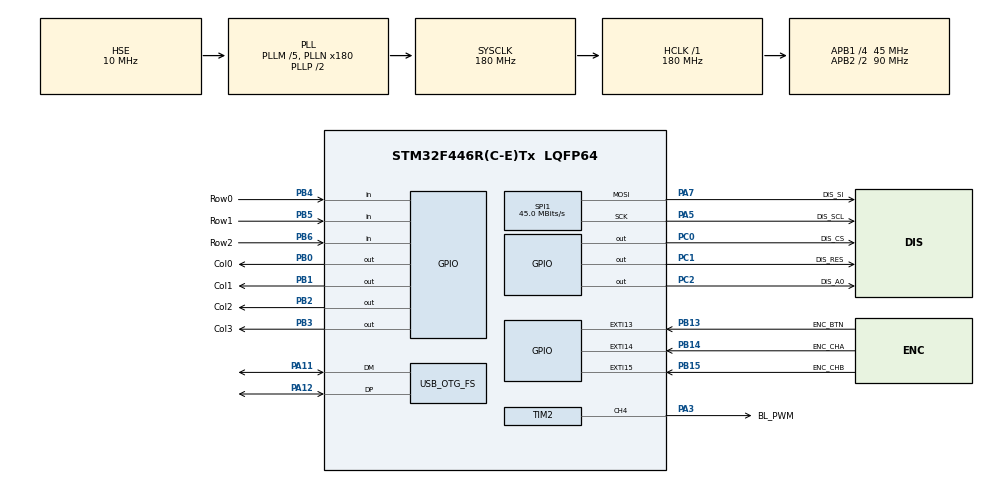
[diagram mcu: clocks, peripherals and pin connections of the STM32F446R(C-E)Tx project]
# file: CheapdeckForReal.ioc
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Dma.MEMTOMEM.2.Direction=DMA_MEMORY_TO_MEMORY
Dma.MEMTOMEM.2.FIFOMode=DMA_FIFOMODE_ENABLE
Dma.MEMTOMEM.2.FIFOThreshold=DMA_FIFO_THRESHOLD_FULL
Dma.MEMTOMEM.2.Instance=DMA2_Stream0
Dma.MEMTOMEM.2.MemBurst=DMA_MBURST_INC4
Dma.MEMTOMEM.2.MemDataAlignment=DMA_MDATAALIGN_WORD
Dma.MEMTOMEM.2.MemInc=DMA_MINC_ENABLE
Dma.MEMTOMEM.2.Mode=DMA_NORMAL
Dma.MEMTOMEM.2.PeriphBurst=DMA_PBURST_INC4
Dma.MEMTOMEM.2.PeriphDataAlignment=DMA_PDATAALIGN_WORD
Dma.MEMTOMEM.2.PeriphInc=DMA_PINC_ENABLE
Dma.MEMTOMEM.2.Priority=DMA_PRIORITY_LOW
Dma.Request0=TIM2_UP/CH4
Dma.Request1=SPI1_TX
Dma.Request2=MEMTOMEM
Dma.SPI1_TX.1.Direction=DMA_MEMORY_TO_PERIPH
Dma.SPI1_TX.1.FIFOMode=DMA_FIFOMODE_DISABLE
Dma.SPI1_TX.1.Instance=DMA2_Stream3
Dma.SPI1_TX.1.MemDataAlignment=DMA_MDATAALIGN_BYTE
Dma.SPI1_TX.1.MemInc=DMA_MINC_ENABLE
Dma.SPI1_TX.1.Mode=DMA_NORMAL
Dma.SPI1_TX.1.PeriphDataAlignment=DMA_PDATAALIGN_BYTE
Dma.SPI1_TX.1.PeriphInc=DMA_PINC_DISABLE
Dma.SPI1_TX.1.Priority=DMA_PRIORITY_LOW
Dma.TIM2_UP/CH4.0.Direction=DMA_MEMORY_TO_PERIPH
Dma.TIM2_UP/CH4.0.FIFOMode=DMA_FIFOMODE_DISABLE
Dma.TIM2_UP/CH4.0.Instance=DMA1_Stream7
Dma.TIM2_UP/CH4.0.MemDataAlignment=DMA_MDATAALIGN_HALFWORD
Dma.TIM2_UP/CH4.0.MemInc=DMA_MINC_ENABLE
Dma.TIM2_UP/CH4.0.Mode=DMA_CIRCULAR
Dma.TIM2_UP/CH4.0.PeriphDataAlignment=DMA_PDATAALIGN_HALFWORD
Dma.TIM2_UP/CH4.0.PeriphInc=DMA_PINC_DISABLE
Dma.TIM2_UP/CH4.0.Priority=DMA_PRIORITY_LOW
Mcu.Family=STM32F4
Mcu.Name=STM32F446R(C-E)Tx
Mcu.Package=LQFP64
NVIC.DMA1_Stream7_IRQn=true\:0\:0\:false\:false\:true\:false\:true\:true
NVIC.DMA2_Stream0_IRQn=true\:0\:0\:false\:false\:true\:true\:true\:true
NVIC.DMA2_Stream3_IRQn=true\:0\:0\:false\:false\:true\:false\:true\:true
NVIC.EXTI15_10_IRQn=true\:0\:0\:false\:false\:true\:true\:true\:true
NVIC.OTG_FS_IRQn=true\:0\:0\:false\:false\:true\:false\:true\:true
NVIC.PriorityGroup=NVIC_PRIORITYGROUP_4
PA11.Mode=Device_Only
PA11.Signal=USB_OTG_FS_DM
PA12.Mode=Device_Only
PA12.Signal=USB_OTG_FS_DP
PA13.Mode=Serial_Wire
PA13.Signal=SYS_JTMS-SWDIO
PA14.Mode=Serial_Wire
PA14.Signal=SYS_JTCK-SWCLK
PA3.GPIO_Label=BL_PWM
PA3.Signal=S_TIM2_CH4
PA5.GPIO_Label=DIS_SCL
PA5.Mode=TX_Only_Simplex_Unidirect_Master
PA5.Signal=SPI1_SCK
PA7.GPIO_Label=DIS_SI
PA7.Mode=TX_Only_Simplex_Unidirect_Master
PA7.Signal=SPI1_MOSI
PB0.GPIO_Label=Col0
PB0.Signal=GPIO_Output
PB1.GPIO_Label=Col1
PB1.Signal=GPIO_Output
PB13.GPIO_Label=ENC_BTN
PB13.GPIO_ModeDefaultEXTI=GPIO_MODE_IT_RISING_FALLING
PB13.Signal=GPXTI13
PB14.GPIO_Label=ENC_CHA
PB14.GPIO_ModeDefaultEXTI=GPIO_MODE_IT_RISING_FALLING
PB14.Signal=GPXTI14
PB15.GPIO_Label=ENC_CHB
PB15.GPIO_ModeDefaultEXTI=GPIO_MODE_IT_RISING_FALLING
PB15.Signal=GPXTI15
PB2.GPIO_Label=Col2
PB2.Signal=GPIO_Output
PB3.GPIO_Label=Col3
PB3.Signal=GPIO_Output
PB4.GPIO_Label=Row0
PB4.GPIO_PuPd=GPIO_PULLUP
PB4.Signal=GPIO_Input
PB5.GPIO_Label=Row1
PB5.GPIO_PuPd=GPIO_PULLUP
PB5.Signal=GPIO_Input
PB6.GPIO_Label=Row2
PB6.GPIO_PuPd=GPIO_PULLUP
PB6.Signal=GPIO_Input
PC0.GPIO_Label=DIS_CS
PC0.Signal=GPIO_Output
PC1.GPIO_Label=DIS_RES
PC1.Signal=GPIO_Output
PC2.GPIO_Label=DIS_A0
PC2.Signal=GPIO_Output
PH0-OSC_IN.Mode=HSE-External-Oscillator
PH0-OSC_IN.Signal=RCC_OSC_IN
PH1-OSC_OUT.Mode=HSE-External-Oscillator
PH1-OSC_OUT.Signal=RCC_OSC_OUT
ProjectManager.HeapSize=0x200
ProjectManager.StackSize=0x400
ProjectManager.TargetToolchain=STM32CubeIDE
RCC.AHBFreq_Value=180000000
RCC.APB1CLKDivider=RCC_HCLK_DIV4
RCC.APB1Freq_Value=45000000
RCC.APB1TimFreq_Value=90000000
RCC.APB2CLKDivider=RCC_HCLK_DIV2
RCC.APB2Freq_Value=90000000
RCC.APB2TimFreq_Value=180000000
RCC.CortexFreq_Value=180000000
RCC.HCLKFreq_Value=180000000
RCC.HSE_VALUE=10000000
RCC.PLLM=5
RCC.PLLN=180
RCC.PLLQ=3
RCC.PLLSAIM=10
RCC.PLLSAIN=384
RCC.PLLSAIP=RCC_PLLSAIP_DIV8
RCC.PLLSourceVirtual=RCC_PLLSOURCE_HSE
RCC.SYSCLKFreq_VALUE=180000000
RCC.SYSCLKSource=RCC_SYSCLKSOURCE_PLLCLK
RCC.USBCLockSelection=RCC_CLK48CLKSOURCE_PLLSAIP
RCC.USBFreq_Value=48000000
RCC.VCOOutputFreq_Value=360000000
SH.S_TIM2_CH4.0=TIM2_CH4,PWM Generation4 CH4
SPI1.CalculateBaudRate=45.0 MBits/s
SPI1.Direction=SPI_DIRECTION_2LINES
SPI1.Mode=SPI_MODE_MASTER
SPI1.VirtualType=VM_MASTER
TIM2.AutoReloadPreload=TIM_AUTORELOAD_PRELOAD_ENABLE
TIM2.Channel-PWM\ Generation4\ CH4=TIM_CHANNEL_4
TIM2.CounterMode=TIM_COUNTERMODE_UP
TIM2.Period=99
TIM2.Prescaler=71
TIM2.Pulse-PWM\ Generation4\ CH4=0
USB_DEVICE.CLASS_NAME_FS=CUSTOM_HID
USB_DEVICE.CUSTOM_HID_FS_BINTERVAL=0x1
USB_DEVICE.PID_CUSTOMHID_FS=22353 
USB_DEVICE.USBD_CUSTOMHID_OUTREPORT_BUF_SIZE-CUSTOM_HID_FS=64
USB_DEVICE.USBD_CUSTOM_HID_REPORT_DESC_SIZE-CUSTOM_HID_FS=120
USB_DEVICE.VirtualMode-CUSTOM_HID_FS=CustomHid
USB_DEVICE.VirtualModeFS=Custom_Hid_FS
USB_OTG_FS.VirtualMode=Device_Only
VP_TIM2_VS_ClockSourceINT.Mode=Internal
VP_USB_DEVICE_VS_USB_DEVICE_CUSTOM_HID_FS.Mode=CUSTOM_HID_FS
board=custom

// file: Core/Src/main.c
/* USER CODE BEGIN Header */
/**
  ******************************************************************************
  * @file           : main.c
  * @brief          : Main program body
  ******************************************************************************
  * @attention
  *
  * Copyright (c) 2026 STMicroelectronics.
  * All rights reserved.
  *
  * This software is licensed under terms that can be found in the LICENSE file
  * in the root directory of this software component.
  * If no LICENSE file comes with this software, it is provided AS-IS.
  *
  ******************************************************************************
  */
/* USER CODE END Header */
#include "main.h"
#include "usb_device.h"

/* USER CODE BEGIN Includes */
#include "Display.h"
#include "Buttons.h"
#include "Flash.h"
#include "USB.h"
#include <stdbool.h>
#include "Encoder.h"
#include "Graphics.h"

#include "usbd_customhid.h"
#include "usb_device.h"
/* USER CODE END Includes */

SPI_HandleTypeDef hspi1;
DMA_HandleTypeDef hdma_spi1_tx;

TIM_HandleTypeDef htim2;
DMA_HandleTypeDef hdma_tim2_up_ch4;

DMA_HandleTypeDef hdma_memtomem_dma2_stream0;
/* USER CODE BEGIN PV */

extern USBD_HandleTypeDef hUsbDeviceFS;

__attribute__((aligned(4))) uint8_t Frame[8][128] = {0};

volatile bool drawingallowed = true;
volatile bool RefreshScreen = true;
volatile bool UpdateButtons = true;
volatile bool ReadEncoder = true;
volatile bool USBPacketReceived = false;
volatile bool KeysChanged = false;
__attribute__((aligned(4))) KeyAssignment ButtonAssignments[12] = {0};
uint16_t changes = 0;
bool mute_flag = false;

/* USER CODE END PV */

void SystemClock_Config(void);
static void MX_GPIO_Init(void);
static void MX_DMA_Init(void);
static void MX_SPI1_Init(void);
static void MX_TIM2_Init(void);

int main(void)
{

  /* MCU Configuration--------------------------------------------------------*/

  /* Reset of all peripherals, Initializes the Flash interface and the Systick. */
  HAL_Init();

  /* Configure the system clock */
  SystemClock_Config();

  /* USER CODE BEGIN SysInit */
  HAL_Delay(1000);
  ScanFlashSector();
  LoadAssignments();
  /* USER CODE END SysInit */

  /* Initialize all configured peripherals */
  MX_GPIO_Init();
  MX_DMA_Init();
  MX_SPI1_Init();
  MX_TIM2_Init();
  MX_USB_DEVICE_Init();
  /* USER CODE BEGIN 2 */
  InitDisplay();
  HAL_TIM_PWM_Start(&htim2, TIM_CHANNEL_4);

  uint32_t last_display_time = 0;

  /* USER CODE END 2 */

  /* Infinite loop */
  /* USER CODE BEGIN WHILE */
  while (1)
  {
	USBD_CUSTOM_HID_HandleTypeDef *hhid = (USBD_CUSTOM_HID_HandleTypeDef*)hUsbDeviceFS.pClassData;
	ProcessIncomingUSBData();
	UpdateEncoderAccumulator();
	ScanButtons();
	SendKeyboardReport(hhid);
	SendMediaControlReport(hhid);
	if ((HAL_GetTick() - last_display_time) >= 35) {
	    last_display_time = HAL_GetTick();
	    PaintDisplayDMA();
	}
	__WFI();
    /* USER CODE END WHILE */

  }
}

void SystemClock_Config(void)
{
  RCC_OscInitTypeDef RCC_OscInitStruct = {0};
  RCC_ClkInitTypeDef RCC_ClkInitStruct = {0};

  /** Configure the main internal regulator output voltage
  */
  __HAL_RCC_PWR_CLK_ENABLE();
  __HAL_PWR_VOLTAGESCALING_CONFIG(PWR_REGULATOR_VOLTAGE_SCALE1);

  /** Initializes the RCC Oscillators according to the specified parameters
  * in the RCC_OscInitTypeDef structure.
  */
  RCC_OscInitStruct.OscillatorType = RCC_OSCILLATORTYPE_HSE;
  RCC_OscInitStruct.HSEState = RCC_HSE_ON;
  RCC_OscInitStruct.PLL.PLLState = RCC_PLL_ON;
  RCC_OscInitStruct.PLL.PLLSource = RCC_PLLSOURCE_HSE;
  RCC_OscInitStruct.PLL.PLLM = 5;
  RCC_OscInitStruct.PLL.PLLN = 180;
  RCC_OscInitStruct.PLL.PLLP = RCC_PLLP_DIV2;
  RCC_OscInitStruct.PLL.PLLQ = 3;
  RCC_OscInitStruct.PLL.PLLR = 2;
  if (HAL_RCC_OscConfig(&RCC_OscInitStruct) != HAL_OK)
  {
    Error_Handler();
  }

  /** Activate the Over-Drive mode
  */
  if (HAL_PWREx_EnableOverDrive() != HAL_OK)
  {
    Error_Handler();
  }

  /** Initializes the CPU, AHB and APB buses clocks
  */
  RCC_ClkInitStruct.ClockType = RCC_CLOCKTYPE_HCLK|RCC_CLOCKTYPE_SYSCLK
                              |RCC_CLOCKTYPE_PCLK1|RCC_CLOCKTYPE_PCLK2;
  RCC_ClkInitStruct.SYSCLKSource = RCC_SYSCLKSOURCE_PLLCLK;
  RCC_ClkInitStruct.AHBCLKDivider = RCC_SYSCLK_DIV1;
  RCC_ClkInitStruct.APB1CLKDivider = RCC_HCLK_DIV4;
  RCC_ClkInitStruct.APB2CLKDivider = RCC_HCLK_DIV2;

  if (HAL_RCC_ClockConfig(&RCC_ClkInitStruct, FLASH_LATENCY_5) != HAL_OK)
  {
    Error_Handler();
  }
}

static void MX_SPI1_Init(void)
{

  /* SPI1 parameter configuration*/
  hspi1.Instance = SPI1;
  hspi1.Init.Mode = SPI_MODE_MASTER;
  hspi1.Init.Direction = SPI_DIRECTION_2LINES;
  hspi1.Init.DataSize = SPI_DATASIZE_8BIT;
  hspi1.Init.CLKPolarity = SPI_POLARITY_LOW;
  hspi1.Init.CLKPhase = SPI_PHASE_1EDGE;
  hspi1.Init.NSS = SPI_NSS_SOFT;
  hspi1.Init.BaudRatePrescaler = SPI_BAUDRATEPRESCALER_2;
  hspi1.Init.FirstBit = SPI_FIRSTBIT_MSB;
  hspi1.Init.TIMode = SPI_TIMODE_DISABLE;
  hspi1.Init.CRCCalculation = SPI_CRCCALCULATION_DISABLE;
  hspi1.Init.CRCPolynomial = 10;
  if (HAL_SPI_Init(&hspi1) != HAL_OK)
  {
    Error_Handler();
  }

}

static void MX_TIM2_Init(void)
{

  TIM_ClockConfigTypeDef sClockSourceConfig = {0};
  TIM_MasterConfigTypeDef sMasterConfig = {0};
  TIM_OC_InitTypeDef sConfigOC = {0};

  htim2.Instance = TIM2;
  htim2.Init.Prescaler = 71;
  htim2.Init.CounterMode = TIM_COUNTERMODE_UP;
  htim2.Init.Period = 99;
  htim2.Init.ClockDivision = TIM_CLOCKDIVISION_DIV1;
  htim2.Init.AutoReloadPreload = TIM_AUTORELOAD_PRELOAD_ENABLE;
  if (HAL_TIM_Base_Init(&htim2) != HAL_OK)
  {
    Error_Handler();
  }
  sClockSourceConfig.ClockSource = TIM_CLOCKSOURCE_INTERNAL;
  if (HAL_TIM_ConfigClockSource(&htim2, &sClockSourceConfig) != HAL_OK)
  {
    Error_Handler();
  }
  if (HAL_TIM_PWM_Init(&htim2) != HAL_OK)
  {
    Error_Handler();
  }
  sMasterConfig.MasterOutputTrigger = TIM_TRGO_RESET;
  sMasterConfig.MasterSlaveMode = TIM_MASTERSLAVEMODE_DISABLE;
  if (HAL_TIMEx_MasterConfigSynchronization(&htim2, &sMasterConfig) != HAL_OK)
  {
    Error_Handler();
  }
  sConfigOC.OCMode = TIM_OCMODE_PWM1;
  sConfigOC.Pulse = 0;
  sConfigOC.OCPolarity = TIM_OCPOLARITY_HIGH;
  sConfigOC.OCFastMode = TIM_OCFAST_DISABLE;
  if (HAL_TIM_PWM_ConfigChannel(&htim2, &sConfigOC, TIM_CHANNEL_4) != HAL_OK)
  {
    Error_Handler();
  }
  HAL_TIM_MspPostInit(&htim2);

}

static void MX_DMA_Init(void)
{

  /* DMA controller clock enable */
  __HAL_RCC_DMA1_CLK_ENABLE();
  __HAL_RCC_DMA2_CLK_ENABLE();

  /* Configure DMA request hdma_memtomem_dma2_stream0 on DMA2_Stream0 */
  hdma_memtomem_dma2_stream0.Instance = DMA2_Stream0;
  hdma_memtomem_dma2_stream0.Init.Channel = DMA_CHANNEL_0;
  hdma_memtomem_dma2_stream0.Init.Direction = DMA_MEMORY_TO_MEMORY;
  hdma_memtomem_dma2_stream0.Init.PeriphInc = DMA_PINC_ENABLE;
  hdma_memtomem_dma2_stream0.Init.MemInc = DMA_MINC_ENABLE;
  hdma_memtomem_dma2_stream0.Init.PeriphDataAlignment = DMA_PDATAALIGN_WORD;
  hdma_memtomem_dma2_stream0.Init.MemDataAlignment = DMA_MDATAALIGN_WORD;
  hdma_memtomem_dma2_stream0.Init.Mode = DMA_NORMAL;
  hdma_memtomem_dma2_stream0.Init.Priority = DMA_PRIORITY_LOW;
  hdma_memtomem_dma2_stream0.Init.FIFOMode = DMA_FIFOMODE_ENABLE;
  hdma_memtomem_dma2_stream0.Init.FIFOThreshold = DMA_FIFO_THRESHOLD_FULL;
  hdma_memtomem_dma2_stream0.Init.MemBurst = DMA_MBURST_INC4;
  hdma_memtomem_dma2_stream0.Init.PeriphBurst = DMA_PBURST_INC4;
  if (HAL_DMA_Init(&hdma_memtomem_dma2_stream0) != HAL_OK)
  {
    Error_Handler( );
  }

  /* DMA interrupt init */
  /* DMA1_Stream7_IRQn interrupt configuration */
  HAL_NVIC_SetPriority(DMA1_Stream7_IRQn, 0, 0);
  HAL_NVIC_EnableIRQ(DMA1_Stream7_IRQn);
  /* DMA2_Stream0_IRQn interrupt configuration */
  HAL_NVIC_SetPriority(DMA2_Stream0_IRQn, 0, 0);
  HAL_NVIC_EnableIRQ(DMA2_Stream0_IRQn);
  /* DMA2_Stream3_IRQn interrupt configuration */
  HAL_NVIC_SetPriority(DMA2_Stream3_IRQn, 0, 0);
  HAL_NVIC_EnableIRQ(DMA2_Stream3_IRQn);

}

static void MX_GPIO_Init(void)
{
  GPIO_InitTypeDef GPIO_InitStruct = {0};

  /* GPIO Ports Clock Enable */
  __HAL_RCC_GPIOH_CLK_ENABLE();
  __HAL_RCC_GPIOC_CLK_ENABLE();
  __HAL_RCC_GPIOA_CLK_ENABLE();
  __HAL_RCC_GPIOB_CLK_ENABLE();

  /*Configure GPIO pin Output Level */
  HAL_GPIO_WritePin(GPIOC, DIS_CS_Pin|DIS_RES_Pin|DIS_A0_Pin, GPIO_PIN_RESET);

  /*Configure GPIO pin Output Level */
  HAL_GPIO_WritePin(GPIOB, Col0_Pin|Col1_Pin|Col2_Pin|Col3_Pin, GPIO_PIN_RESET);

  /*Configure GPIO pins : DIS_CS_Pin DIS_RES_Pin DIS_A0_Pin */
  GPIO_InitStruct.Pin = DIS_CS_Pin|DIS_RES_Pin|DIS_A0_Pin;
  GPIO_InitStruct.Mode = GPIO_MODE_OUTPUT_PP;
  GPIO_InitStruct.Pull = GPIO_NOPULL;
  GPIO_InitStruct.Speed = GPIO_SPEED_FREQ_LOW;
  HAL_GPIO_Init(GPIOC, &GPIO_InitStruct);

  /*Configure GPIO pins : Col0_Pin Col1_Pin Col2_Pin Col3_Pin */
  GPIO_InitStruct.Pin = Col0_Pin|Col1_Pin|Col2_Pin|Col3_Pin;
  GPIO_InitStruct.Mode = GPIO_MODE_OUTPUT_PP;
  GPIO_InitStruct.Pull = GPIO_NOPULL;
  GPIO_InitStruct.Speed = GPIO_SPEED_FREQ_LOW;
  HAL_GPIO_Init(GPIOB, &GPIO_InitStruct);

  /*Configure GPIO pins : ENC_BTN_Pin ENC_CHA_Pin ENC_CHB_Pin */
  GPIO_InitStruct.Pin = ENC_BTN_Pin|ENC_CHA_Pin|ENC_CHB_Pin;
  GPIO_InitStruct.Mode = GPIO_MODE_IT_RISING_FALLING;
  GPIO_InitStruct.Pull = GPIO_NOPULL;
  HAL_GPIO_Init(GPIOB, &GPIO_InitStruct);

  /*Configure GPIO pins : Row0_Pin Row1_Pin Row2_Pin */
  GPIO_InitStruct.Pin = Row0_Pin|Row1_Pin|Row2_Pin;
  GPIO_InitStruct.Mode = GPIO_MODE_INPUT;
  GPIO_InitStruct.Pull = GPIO_PULLUP;
  HAL_GPIO_Init(GPIOB, &GPIO_InitStruct);

  /* EXTI interrupt init*/
  HAL_NVIC_SetPriority(EXTI15_10_IRQn, 0, 0);
  HAL_NVIC_EnableIRQ(EXTI15_10_IRQn);

}

void Error_Handler(void)
{
  __disable_irq();
  while (1)
  {
  }
}
